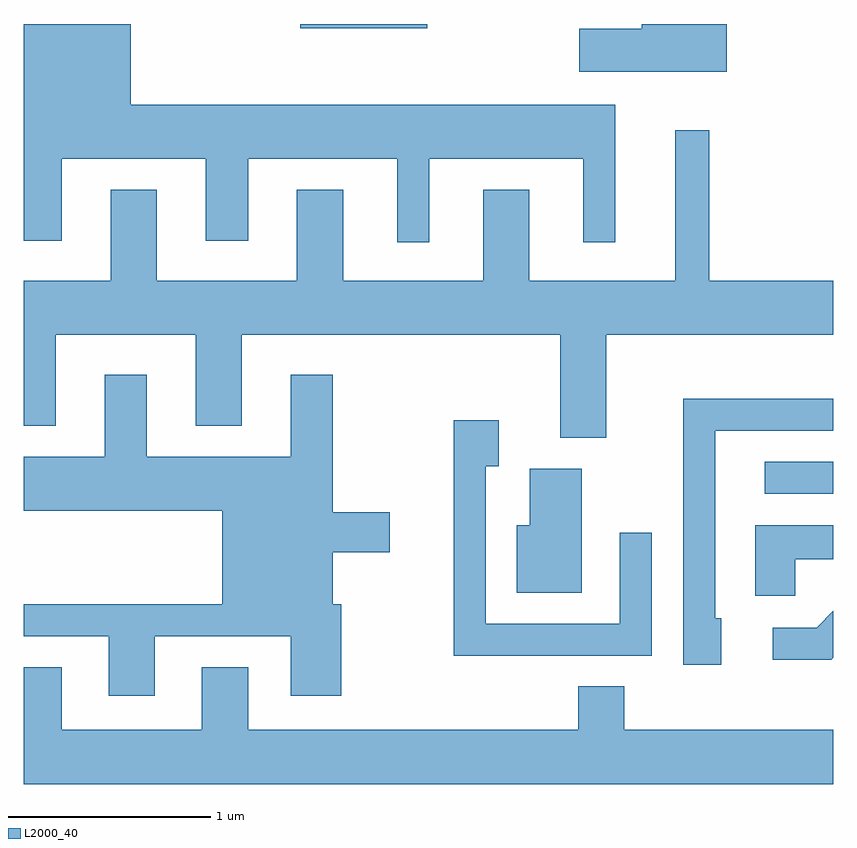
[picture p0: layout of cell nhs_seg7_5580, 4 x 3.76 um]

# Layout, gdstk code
import gdstk
lib = gdstk.Library(unit=1e-6, precision=1e-09)
def R(c, l, rs):  # rectangles x0, y0, x1, y1
    for r in rs: c.add(gdstk.rectangle(r[:2], r[2:], *l))
def P(c, l, *ps):  # polygons
    for p in ps: c.add(gdstk.Polygon(p, *l))
L2000_40 = (2000, 40)

nhs_seg7_5580 = lib.new_cell('nhs_seg7_5580')
R(nhs_seg7_5580, L2000_40, [(359.273,1757.931,359.611,1758.089), (356.976,1760.231,357.604,1760.252)])
P(nhs_seg7_5580, L2000_40, [(359.084,1760.252),(358.666,1760.252),(358.666,1760.229),(358.356,1760.229),(358.356,1760.016),(359.084,1760.016)],
  [(357.614,1759.586),(358.376,1759.586),(358.376,1759.173),(358.534,1759.173),(358.534,1759.854),(356.139,1759.854),(356.139,1760.252),(355.611,1760.252),(355.611,1759.181),(355.799,1759.181),(355.799,1759.586),(356.511,1759.586),(356.511,1759.181),(356.719,1759.181),(356.719,1759.586),(357.456,1759.586),(357.456,1759.173),(357.614,1759.173)],
  [(358.489,1758.716),(359.611,1758.716),(359.611,1758.984),(358.999,1758.984),(358.999,1759.728),(358.831,1759.728),(358.831,1758.984),(358.109,1758.984),(358.109,1759.434),(357.881,1759.434),(357.881,1758.984),(357.189,1758.984),(357.189,1759.434),(356.961,1759.434),(356.961,1758.984),(356.269,1758.984),(356.269,1759.434),(356.041,1759.434),(356.041,1758.984),(355.611,1758.984),(355.611,1758.266),(355.769,1758.266),(355.769,1758.716),(356.461,1758.716),(356.461,1758.266),(356.689,1758.266),(356.689,1758.716),(358.261,1758.716),(358.261,1758.206),(358.489,1758.206)],
  [(356.259,1757.226),(356.931,1757.226),(356.931,1756.931),(357.179,1756.931),(357.179,1757.384),(357.139,1757.384),(357.139,1757.641),(357.419,1757.641),(357.419,1757.839),(357.139,1757.839),(357.139,1758.519),(356.931,1758.519),(356.931,1758.114),(356.219,1758.114),(356.219,1758.519),(356.011,1758.519),(356.011,1758.114),(355.611,1758.114),(355.611,1757.846),(356.591,1757.846),(356.591,1757.384),(355.611,1757.384),(355.611,1757.226),(356.031,1757.226),(356.031,1756.931),(356.259,1756.931)],
  [(359.059,1757.314),(359.029,1757.314),(359.029,1758.241),(359.611,1758.241),(359.611,1758.399),(358.871,1758.399),(358.871,1757.086),(359.059,1757.086)],
  [(358.714,1757.738),(358.556,1757.738),(358.556,1757.289),(357.894,1757.289),(357.894,1758.066),(357.959,1758.066),(357.959,1758.294),(357.736,1758.294),(357.736,1757.131),(358.714,1757.131)],
  [(358.369,1758.054),(358.111,1758.054),(358.111,1757.774),(358.046,1757.774),(358.046,1757.441),(358.369,1757.441)],
  [(359.424,1757.606),(359.611,1757.606),(359.611,1757.774),(359.226,1757.774),(359.226,1757.426),(359.424,1757.426)],
  [(359.611,1757.12),(359.611,1757.351),(359.529,1757.269),(359.313,1757.269),(359.313,1757.111),(359.602,1757.111)],
  [(359.611,1756.764),(358.579,1756.764),(358.579,1756.979),(358.351,1756.979),(358.351,1756.764),(356.719,1756.764),(356.719,1757.074),(356.491,1757.074),(356.491,1756.764),(355.799,1756.764),(355.799,1757.074),(355.611,1757.074),(355.611,1756.496),(359.611,1756.496)])

lib.write_gds('nhs_seg7_5580.gds')
